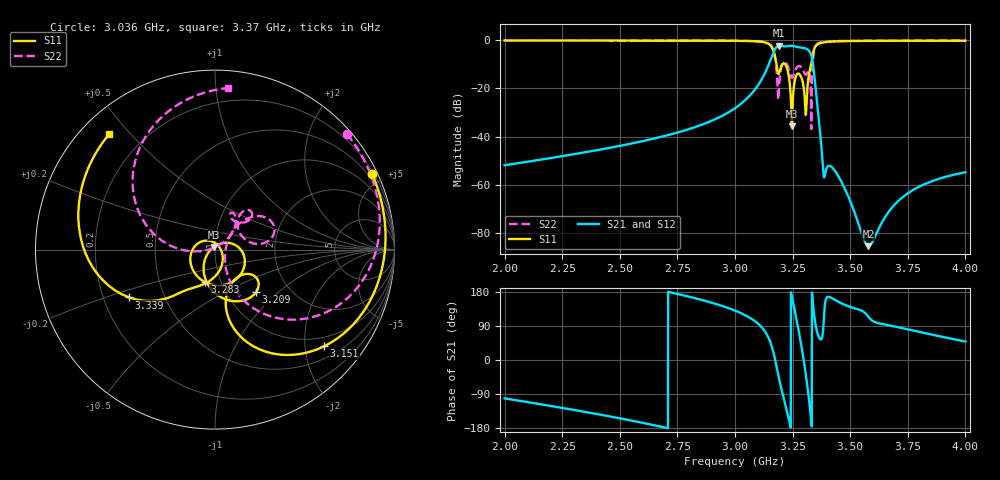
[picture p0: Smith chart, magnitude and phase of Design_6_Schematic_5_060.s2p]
! AWR Design Environment (8316) Fri May 05 02:08:06 2017
! Document = 'Schematic 5'
! nPorts: 2, nXvals: 2001
! Variable c = 0.6
# HZ S DB R 50
!Freq DBS11 AngS11 DBS21 AngS21 DBS12 AngS12 DBS22 AngS22
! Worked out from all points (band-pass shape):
!   2001 points, 2 GHz to 4 GHz, reference 50 ohm
!   highest |S21| = -2.23 dB at 3.192 GHz (marker M1); lowest = -85.5 dB at 3.579 GHz (marker M2)
!   |S21| within 3 dB of the highest: 3.166 GHz to 3.327 GHz (160.9 MHz wide, 4.96 % of centre)
!   lowest |S11| = -35.7 dB at 3.247 GHz (marker M3), VSWR 1.03, Z = 49.4 + j1.51 ohm
!   |S11| at or under -10 dB: 3.18 GHz to 3.205 GHz (25.1 MHz wide, 0.786 % of centre); 3.218 GHz to 3.33 GHz (112 MHz wide, 3.42 % of centre)
!   |S22| runs from -36.9 to -0.1 dB; largest |S21 - S12| = 4.5e-07
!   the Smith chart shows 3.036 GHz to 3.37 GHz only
!   S11 on the Smith chart (normalised r, x): 3.036 GHz: 0.29, +4.39; 3.151 GHz: 0.77, -2.43; 3.209 GHz: 1.36, -0.73; 3.283 GHz: 0.84, -0.31; 3.339 GHz: 0.31, -0.24; 3.37 GHz: 0.08, +0.44
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2e9  -0.06 168.4  -51.90 -101.3  -51.90 -101.3  -0.06 169.7
2.334e9  -0.08 133.8  -46.77 -135.3  -46.77 -135.3  -0.07 136.4
2.667e9  -0.10 93.7  -40.39 -174.4  -40.39 -174.4  -0.09 98.9
3e9  -0.21 35.7  -28.20 130.4  -28.20 130.4  -0.17 49.3
3.036e9  -0.25 25.6  -25.55 120.8  -25.55 120.8  -0.20 41.2
3.151e9  -1.80 -41.5  -8.99 50.9  -8.99 50.9  -1.76 -15.7
3.176e9  -7.75 -78.2  -3.35 -4.3  -3.35 -4.3  -8.79 -58.4
3.192e9  -13.52 -40.9  -2.23 -51.4  -2.23 -51.4  -18.32 43.8
3.209e9  -9.64 -46.3  -2.47 -94.5  -2.47 -94.5  -9.36 30.7
3.247e9  -35.73 111.2  -2.27 167.2  -2.27 167.2  -15.58 30.4
3.266e9  -14.59 -28.2  -2.67 110.0  -2.67 110.0  -11.61 53.8
3.283e9  -14.47 -108.0  -2.99 55.0  -2.99 55.0  -10.83 43.9
3.299e9  -20.25 156.8  -3.18 -3.8  -3.18 -3.8  -13.27 43.7
3.314e9  -20.06 -68.6  -3.78 -68.6  -3.78 -68.6  -13.44 66.9
3.334e9  -7.96 -136.2  -7.24 178.0  -7.24 178.0  -17.19 -176.0
3.339e9  -5.23 -150.9  -10.22 144.6  -10.22 144.6  -7.79 160.4
3.37e9  -1.18 132.5  -38.87 54.9  -38.87 54.9  -0.88 85.2
3.389e9  -0.80 109.7  -56.45 138.8  -56.45 138.8  -0.54 69.7
3.434e9  -0.45 77.7  -54.24 158.6  -54.24 158.6  -0.31 49.2
3.579e9  -0.23 30.0  -85.51 114.0  -85.51 114.0  -0.18 15.9
3.667e9  -0.20 12.1  -71.25 91.7  -71.25 91.7  -0.17 1.7
4e9  -0.16 -38.3  -54.80 48.6  -54.80 48.6  -0.16 -42.7
